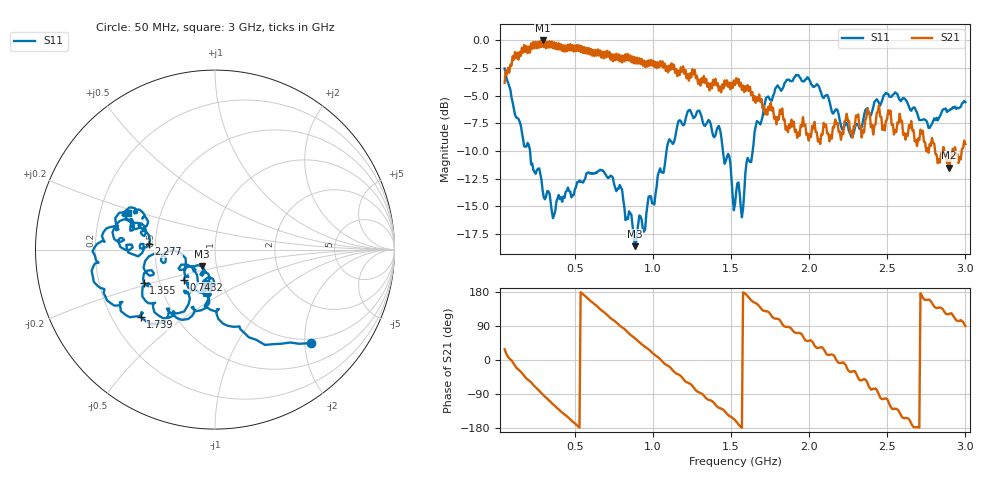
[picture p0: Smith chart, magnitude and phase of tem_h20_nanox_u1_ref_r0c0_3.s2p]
! nanovna_capture.py 2026-10-26T21:06:50+0900
! NanoVNA-F_V2 fw 0.6.0 SN 4A3639384505514B
! cal: load open short thru cal'ed  over 50000000-3000000000 Hz, 201 points
! points 401, avg 4
! TEM h=20, genuine Nano X, flat back down, 0 deg, centred, placement 3
# HZ S RI R 50
! S12 and S22 are not measured (written as 0)
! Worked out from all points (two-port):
!   401 points, 50 MHz to 3 GHz, reference 50 ohm
!   highest |S21| = 0.00 dB at 293.4 MHz (marker M1); lowest = -11.5 dB at 2.897 GHz (marker M2)
!   |S21| within 3 dB of the highest: 65.58 MHz to 1.154 GHz (1.088 GHz wide, 178 % of centre); 1.172 GHz to 1.2 GHz (28.07 MHz wide, 2.37 % of centre) (the widest 2 of 8)
!   lowest |S11| = -18.6 dB at 883.4 MHz (marker M3), VSWR 1.27, Z = 42.5 - j7.93 ohm
!   |S11| at or under -10 dB: 212.8 MHz to 1.087 GHz (873.7 MHz wide, 134 % of centre); 1.448 GHz to 1.638 GHz (190.1 MHz wide, 12.3 % of centre)
!   S12 and S22 are empty: the file has one direction only
!   S11 on the Smith chart (normalised r, x): 50 MHz: 0.91, -2.14; 743.2 MHz: 0.67, -0.24; 1.355 GHz: 0.41, -0.19; 1.739 GHz: 0.32, -0.35; 2.277 GHz: 0.46, +0.03; 3 GHz: 0.32, +0.18
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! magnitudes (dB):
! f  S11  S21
! 50 MHz  -2.5  -3.8
! 116.4 MHz  -6.7  -1.0
! 293.4 MHz  -13.6  0.0
! 367.1 MHz  -15.8  -0.2
! 544.1 MHz  -12.8  -0.5
! 743.2 MHz  -12.4  -1.9
! 883.4 MHz  -18.6  -1.5
! 1.038 GHz  -11.9  -2.4
! 1.23 GHz  -6.3  -3.6
! 1.355 GHz  -7.2  -3.9
! 1.429 GHz  -8.1  -4.2
! 1.525 GHz  -14.8  -4.0
! 1.569 GHz  -16.0  -4.5
! 1.658 GHz  -7.7  -5.6
! 1.739 GHz  -5.1  -6.0
! 1.916 GHz  -3.1  -8.1
! 2.019 GHz  -4.1  -7.7
! 2.277 GHz  -8.7  -8.8
! 2.513 GHz  -5.1  -6.7
! 2.771 GHz  -7.9  -9.4
! 2.897 GHz  -6.3  -11.5
! 3 GHz  -5.6  -9.4
